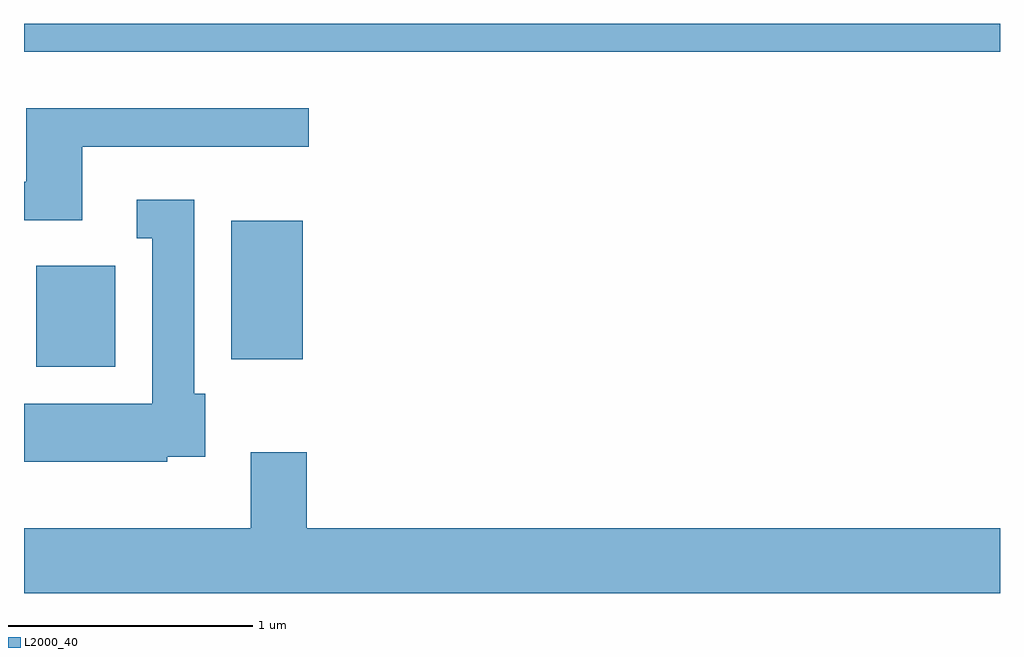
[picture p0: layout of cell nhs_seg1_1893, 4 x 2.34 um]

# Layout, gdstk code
import gdstk
lib = gdstk.Library(unit=1e-6, precision=1e-09)
def R(c, l, rs):  # rectangles x0, y0, x1, y1
    for r in rs: c.add(gdstk.rectangle(r[:2], r[2:], *l))
def P(c, l, *ps):  # polygons
    for p in ps: c.add(gdstk.Polygon(p, *l))
L2000_40 = (2000, 40)

nhs_seg1_1893 = lib.new_cell('nhs_seg1_1893')
R(nhs_seg1_1893, L2000_40, [(243.661,878.306,243.984,878.719), (244.461,878.336,244.754,878.904), (243.611,879.596,247.611,879.712)])
P(nhs_seg1_1893, L2000_40, [(243.849,879.206),(244.778,879.206),(244.778,879.364),(243.621,879.364),(243.621,879.064),(243.611,879.064),(243.611,878.906),(243.849,878.906)],
  [(244.199,877.936),(244.354,877.936),(244.354,878.194),(244.309,878.194),(244.309,878.989),(244.073,878.989),(244.073,878.831),(244.136,878.831),(244.136,878.154),(243.611,878.154),(243.611,877.916),(244.199,877.916)],
  [(247.611,877.644),(244.769,877.644),(244.769,877.954),(244.541,877.954),(244.541,877.644),(243.611,877.644),(243.611,877.376),(247.611,877.376)])

lib.write_gds('nhs_seg1_1893.gds')
